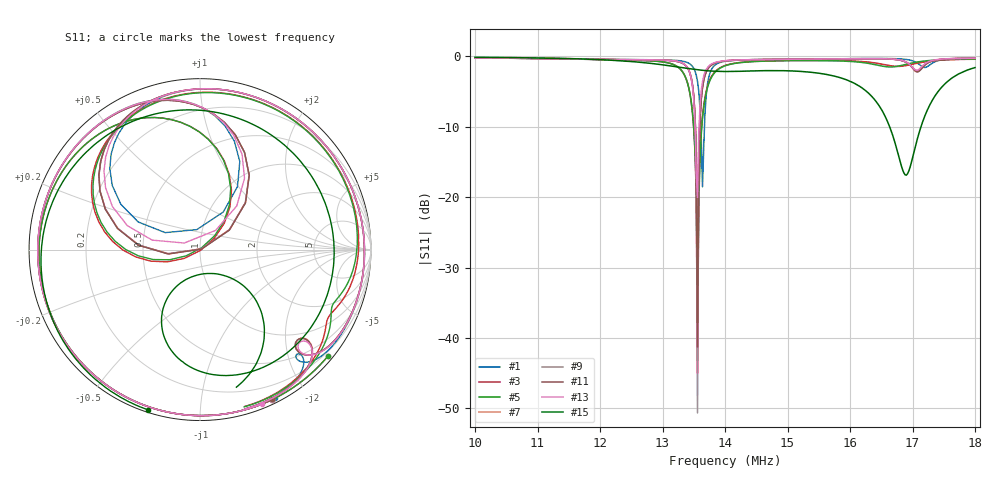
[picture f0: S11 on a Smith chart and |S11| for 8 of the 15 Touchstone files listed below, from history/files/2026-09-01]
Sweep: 10 MHz to 18 MHz
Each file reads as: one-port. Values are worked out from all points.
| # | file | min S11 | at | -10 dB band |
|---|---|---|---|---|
| 1 | 120series_200shunt_AIT_T0.85_L1.23_SENSITIVITY_FULL_CYLINDER_NAT.s1p | -18.5 dB | 13.64 MHz | 59.93 kHz wide |
| 2 | 120series_200shunt_AIT_T0.93_L0.75_REP1_FULL_CYLINDER_8020MIX.s1p | -60.2 dB | 13.56 MHz | 128.6 kHz wide |
| 3 | 120series_200shunt_AIT_T0.93_L0.75_REP2_FULL_CYLINDER_8020MIX.s1p | -45.1 dB | 13.56 MHz | 128 kHz wide |
| 4 | 120series_200shunt_AIT_T0.93_L0.75_REP3_FULL_CYLINDER_8020MIX.s1p | -40.9 dB | 13.56 MHz | 128.1 kHz wide |
| 5 | 120series_200shunt_AIT_T0.94_L0.75_30wtp-graphite_8020MIX_FULL_CYLINDER.s1p | -36.9 dB | 13.56 MHz | 130.4 kHz wide |
| 6 | 120series_200shunt_AIT_T0.95_L1.13_SENSITIVITY_FULL_CYLINDER_NAT.s1p | -19.2 dB | 13.58 MHz | 72.53 kHz wide |
| 7 | 120series_200shunt_AIT_T0.95_L1.23_30wtp-graphite-beaker_FULL_CYLINDER_NAT.s1p | -36.9 dB | 13.56 MHz | 69.77 kHz wide |
| 8 | 120series_200shunt_AIT_T0.95_L1.23_30wtp-graphite_8020MIX_FULL_CYLINDER.s1p | -10.3 dB | 13.5 MHz | 16.52 kHz wide |
| 9 | 120series_200shunt_AIT_T0.95_L1.23_FULL_CYLINDER_NAT.s1p | -50.7 dB | 13.56 MHz | 69.86 kHz wide |
| 10 | 120series_200shunt_AIT_T0.95_L1.23_REP1_FULL_CYLINDER_NAT.s1p | -34.4 dB | 13.56 MHz | 69.89 kHz wide |
| 11 | 120series_200shunt_AIT_T0.95_L1.23_REP2_FULL_CYLINDER_NAT.s1p | -41.3 dB | 13.56 MHz | 69.91 kHz wide |
| 12 | 120series_200shunt_AIT_T0.95_L1.23_REP3_FULL_CYLINDER_NAT.s1p | -43.8 dB | 13.56 MHz | 69.92 kHz wide |
| 13 | 120series_200shunt_AIT_T0.95_L1.33_SENSITIVITY_FULL_CYLINDER_NAT.s1p | -20.0 dB | 13.56 MHz | 63.23 kHz wide |
| 14 | 120series_200shunt_AIT_T1.05_L1.23_SENSITIVITY_FULL_CYLINDER_NAT.s1p | -17.6 dB | 13.5 MHz | 70.97 kHz wide |
| 15 | 120series_200shunt_direct_FULL_CYLINDER_8020MIX.s1p | -16.9 dB | 16.9 MHz | 501.6 kHz wide |
